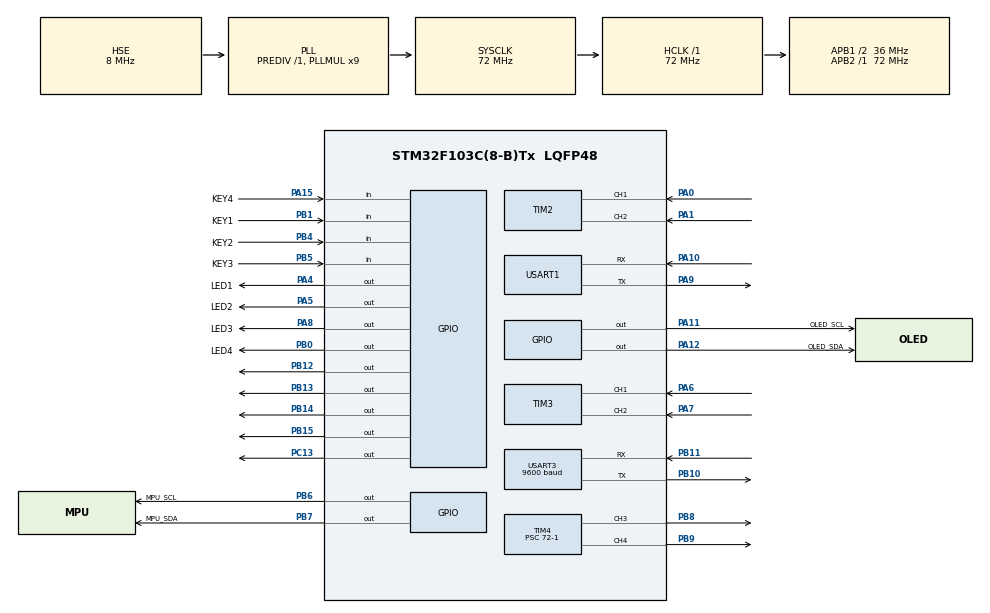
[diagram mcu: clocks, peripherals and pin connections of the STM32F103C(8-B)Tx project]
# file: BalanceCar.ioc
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Dma.Request0=USART1_RX
Dma.Request1=USART1_TX
Dma.USART1_RX.0.Direction=DMA_PERIPH_TO_MEMORY
Dma.USART1_RX.0.Instance=DMA1_Channel5
Dma.USART1_RX.0.MemDataAlignment=DMA_MDATAALIGN_BYTE
Dma.USART1_RX.0.MemInc=DMA_MINC_ENABLE
Dma.USART1_RX.0.Mode=DMA_NORMAL
Dma.USART1_RX.0.PeriphDataAlignment=DMA_PDATAALIGN_BYTE
Dma.USART1_RX.0.PeriphInc=DMA_PINC_DISABLE
Dma.USART1_RX.0.Priority=DMA_PRIORITY_LOW
Dma.USART1_TX.1.Direction=DMA_MEMORY_TO_PERIPH
Dma.USART1_TX.1.Instance=DMA1_Channel4
Dma.USART1_TX.1.MemDataAlignment=DMA_MDATAALIGN_BYTE
Dma.USART1_TX.1.MemInc=DMA_MINC_ENABLE
Dma.USART1_TX.1.Mode=DMA_NORMAL
Dma.USART1_TX.1.PeriphDataAlignment=DMA_PDATAALIGN_BYTE
Dma.USART1_TX.1.PeriphInc=DMA_PINC_DISABLE
Dma.USART1_TX.1.Priority=DMA_PRIORITY_LOW
FREERTOS.BinarySemaphores01=SemSpeedPID,Dynamic,NULL,Available;PIDDataGet,Dynamic,NULL,Available
FREERTOS.Queues01=myQueueKeys,16,uint8_t,0,Dynamic,NULL,NULL
FREERTOS.Tasks01=TaskDataGet,32,128,DataGet,Default,NULL,Dynamic,NULL,NULL;TaskSpeedPID,17,128,SpeedPID,Default,NULL,Dynamic,NULL,NULL;myTaskLedFlash,17,128,running_led_task,Default,NULL,Dynamic,NULL,NULL;myTaskDraw,8,128,OledDraw,Default,NULL,Dynamic,NULL,NULL;myTaskScanKeys,24,128,ScanKeys,Default,NULL,Dynamic,NULL,NULL;TaskPIDDataChan,8,128,PIDDataChange,Default,NULL,Dynamic,NULL,NULL
FREERTOS.configTOTAL_HEAP_SIZE=6144
FREERTOS.configUSE_NEWLIB_REENTRANT=0
Mcu.Family=STM32F1
Mcu.Name=STM32F103C(8-B)Tx
Mcu.Package=LQFP48
NVIC.DMA1_Channel4_IRQn=true\:5\:0\:false\:false\:true\:true\:false\:true\:true
NVIC.DMA1_Channel5_IRQn=true\:5\:0\:false\:false\:true\:true\:false\:true\:true
NVIC.PriorityGroup=NVIC_PRIORITYGROUP_4
NVIC.TIM1_UP_IRQn=true\:0\:0\:true\:false\:true\:false\:false\:true\:true
NVIC.TIM2_IRQn=true\:5\:0\:false\:false\:true\:false\:true\:true\:true
NVIC.TIM3_IRQn=true\:5\:0\:false\:false\:true\:false\:true\:true\:true
NVIC.TimeBase=TIM1_UP_IRQn
NVIC.TimeBaseIP=TIM1
NVIC.USART1_IRQn=true\:5\:0\:false\:false\:true\:true\:true\:true\:true
NVIC.USART3_IRQn=true\:5\:0\:false\:false\:true\:true\:true\:true\:true
PA0-WKUP.GPIO_PuPd=GPIO_PULLUP
PA0-WKUP.Signal=S_TIM2_CH1_ETR
PA1.GPIO_PuPd=GPIO_PULLUP
PA1.Signal=S_TIM2_CH2
PA10.GPIO_PuPd=GPIO_PULLUP
PA10.Mode=Asynchronous
PA10.Signal=USART1_RX
PA11.GPIO_Label=OLED_SCL
PA11.GPIO_ModeDefaultOutputPP=GPIO_MODE_OUTPUT_OD
PA11.GPIO_PuPd=GPIO_NOPULL
PA11.Signal=GPIO_Output
PA12.GPIO_Label=OLED_SDA
PA12.GPIO_ModeDefaultOutputPP=GPIO_MODE_OUTPUT_OD
PA12.GPIO_PuPd=GPIO_NOPULL
PA12.Signal=GPIO_Output
PA13.Mode=Serial_Wire
PA13.Signal=SYS_JTMS-SWDIO
PA14.Mode=Serial_Wire
PA14.Signal=SYS_JTCK-SWCLK
PA15.GPIO_Label=KEY4
PA15.GPIO_PuPd=GPIO_PULLUP
PA15.Signal=GPIO_Input
PA4.GPIO_Label=LED1
PA4.Signal=GPIO_Output
PA5.GPIO_Label=LED2
PA5.Signal=GPIO_Output
PA6.GPIO_PuPd=GPIO_PULLUP
PA6.Signal=S_TIM3_CH1
PA7.GPIO_PuPd=GPIO_PULLUP
PA7.Signal=S_TIM3_CH2
PA8.GPIO_Label=LED3
PA8.Signal=GPIO_Output
PA9.Mode=Asynchronous
PA9.Signal=USART1_TX
PB0.GPIO_Label=LED4
PB0.Signal=GPIO_Output
PB1.GPIO_Label=KEY1
PB1.GPIO_PuPd=GPIO_PULLUP
PB1.Signal=GPIO_Input
PB10.Mode=Asynchronous
PB10.Signal=USART3_TX
PB11.Mode=Asynchronous
PB11.Signal=USART3_RX
PB12.Signal=GPIO_Output
PB13.Signal=GPIO_Output
PB14.Signal=GPIO_Output
PB15.Signal=GPIO_Output
PB4.GPIO_Label=KEY2
PB4.GPIO_PuPd=GPIO_PULLUP
PB4.Signal=GPIO_Input
PB5.GPIO_Label=KEY3
PB5.GPIO_PuPd=GPIO_PULLUP
PB5.Signal=GPIO_Input
PB6.GPIO_Label=MPU_SCL
PB6.GPIO_ModeDefaultOutputPP=GPIO_MODE_OUTPUT_OD
PB6.GPIO_PuPd=GPIO_NOPULL
PB6.GPIO_Speed=GPIO_SPEED_FREQ_HIGH
PB6.PinState=GPIO_PIN_SET
PB6.Signal=GPIO_Output
PB7.GPIO_Label=MPU_SDA
PB7.GPIO_ModeDefaultOutputPP=GPIO_MODE_OUTPUT_OD
PB7.GPIO_PuPd=GPIO_NOPULL
PB7.GPIO_Speed=GPIO_SPEED_FREQ_HIGH
PB7.PinState=GPIO_PIN_SET
PB7.Signal=GPIO_Output
PB8.Signal=S_TIM4_CH3
PB9.Signal=S_TIM4_CH4
PC13-TAMPER-RTC.Signal=GPIO_Output
PC14-OSC32_IN.Mode=LSE-External-Oscillator
PC14-OSC32_IN.Signal=RCC_OSC32_IN
PC15-OSC32_OUT.Mode=LSE-External-Oscillator
PC15-OSC32_OUT.Signal=RCC_OSC32_OUT
PD0-OSC_IN.Mode=HSE-External-Oscillator
PD0-OSC_IN.Signal=RCC_OSC_IN
PD1-OSC_OUT.Mode=HSE-External-Oscillator
PD1-OSC_OUT.Signal=RCC_OSC_OUT
ProjectManager.HeapSize=0x200
ProjectManager.StackSize=0x400
ProjectManager.TargetToolchain=MDK-ARM V5.32
RCC.AHBFreq_Value=72000000
RCC.APB1CLKDivider=RCC_HCLK_DIV2
RCC.APB1Freq_Value=36000000
RCC.APB1TimFreq_Value=72000000
RCC.APB2Freq_Value=72000000
RCC.APB2TimFreq_Value=72000000
RCC.HCLKFreq_Value=72000000
RCC.PLLMUL=RCC_PLL_MUL9
RCC.PLLSourceVirtual=RCC_PLLSOURCE_HSE
RCC.SYSCLKFreq_VALUE=72000000
RCC.SYSCLKSource=RCC_SYSCLKSOURCE_PLLCLK
RCC.USBFreq_Value=72000000
SH.S_TIM2_CH1_ETR.0=TIM2_CH1,Encoder_Interface
SH.S_TIM2_CH2.0=TIM2_CH2,Encoder_Interface
SH.S_TIM3_CH1.0=TIM3_CH1,Encoder_Interface
SH.S_TIM3_CH2.0=TIM3_CH2,Encoder_Interface
SH.S_TIM4_CH3.0=TIM4_CH3,PWM Generation3 CH3
SH.S_TIM4_CH4.0=TIM4_CH4,PWM Generation4 CH4
TIM4.Channel-PWM\ Generation3\ CH3=TIM_CHANNEL_3
TIM4.Channel-PWM\ Generation4\ CH4=TIM_CHANNEL_4
TIM4.Period=100-1
TIM4.Prescaler=72-1
TIM4.Pulse-PWM\ Generation3\ CH3=20
USART1.VirtualMode=VM_ASYNC
USART3.BaudRate=9600
USART3.VirtualMode=VM_ASYNC
VP_FREERTOS_VS_CMSIS_V2.Mode=CMSIS_V2
VP_SYS_VS_tim1.Mode=TIM1
VP_TIM4_VS_ClockSourceINT.Mode=Internal
board=custom

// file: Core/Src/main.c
/* USER CODE BEGIN Header */
/**
  ******************************************************************************
  * @file           : main.c
  * @brief          : Main program body
  ******************************************************************************
  * @attention
  *
  * Copyright (c) 2024 STMicroelectronics.
  * All rights reserved.
  *
  * This software is licensed under terms that can be found in the LICENSE file
  * in the root directory of this software component.
  * If no LICENSE file comes with this software, it is provided AS-IS.
  *
  ******************************************************************************
  */
/* USER CODE END Header */
#include "main.h"
#include "cmsis_os.h"
#include "dma.h"
#include "tim.h"
#include "usart.h"
#include "gpio.h"

/* USER CODE BEGIN PV */
uint8_t ID;
extern int16_t AX, AY, AZ, GX, GY, GZ;
PID Balance_PID;  //直立环
PID Speed_PID;  //速度环
/* USER CODE END PV */

void SystemClock_Config(void);
void MX_FREERTOS_Init(void);

/* USER CODE BEGIN 0 */
xUSATR_TypeDef xUSART1 = {0};          // 定义结构体，方便管理变量。也�?以不用结构体，用单独的变�?
/* USER CODE END 0 */

int main(void)
{

  /* MCU Configuration--------------------------------------------------------*/

  /* Reset of all peripherals, Initializes the Flash interface and the Systick. */
  HAL_Init();

  /* Configure the system clock */
  SystemClock_Config();

  /* Initialize all configured peripherals */
  MX_GPIO_Init();
  MX_DMA_Init();
  MX_TIM4_Init();
  MX_TIM2_Init();
  MX_TIM3_Init();
  MX_USART1_UART_Init();
  MX_USART3_UART_Init();
  /* USER CODE BEGIN 2 */
  HAL_GPIO_WritePin(GPIOC, GPIO_PIN_13, GPIO_PIN_SET);
  OLED_Init();

  enco_init();
  motor_init();

  MPU_Init();
	mpu_dmp_init();
  HAL_UARTEx_ReceiveToIdle_DMA(&huart1, xUSART1.BuffTemp, sizeof(xUSART1.BuffTemp));  // �?启DMA空闲�?�?
  PID_Init(&Balance_PID, 200, 0, 10, 3000);  //初始化直立环PID参数
  PID_Init(&Speed_PID, 6, 1.2, 0, 10000);  //初始化速度环PID参数
  Speed_PID.Ki = Speed_PID.Kd / 200;

  //set_speed(100, 100);
  /* USER CODE END 2 */

  /* Init scheduler */
  osKernelInitialize();

  /* Call init function for freertos objects (in cmsis_os2.c) */
  MX_FREERTOS_Init();

  /* Start scheduler */
  osKernelStart();

  /* We should never get here as control is now taken by the scheduler */

  /* Infinite loop */
  while (1)
  {

  }
}

void SystemClock_Config(void)
{
  RCC_OscInitTypeDef RCC_OscInitStruct = {0};
  RCC_ClkInitTypeDef RCC_ClkInitStruct = {0};

  /** Initializes the RCC Oscillators according to the specified parameters
  * in the RCC_OscInitTypeDef structure.
  */
  RCC_OscInitStruct.OscillatorType = RCC_OSCILLATORTYPE_HSE;
  RCC_OscInitStruct.HSEState = RCC_HSE_ON;
  RCC_OscInitStruct.HSEPredivValue = RCC_HSE_PREDIV_DIV1;
  RCC_OscInitStruct.HSIState = RCC_HSI_ON;
  RCC_OscInitStruct.PLL.PLLState = RCC_PLL_ON;
  RCC_OscInitStruct.PLL.PLLSource = RCC_PLLSOURCE_HSE;
  RCC_OscInitStruct.PLL.PLLMUL = RCC_PLL_MUL9;
  if (HAL_RCC_OscConfig(&RCC_OscInitStruct) != HAL_OK)
  {
    Error_Handler();
  }

  /** Initializes the CPU, AHB and APB buses clocks
  */
  RCC_ClkInitStruct.ClockType = RCC_CLOCKTYPE_HCLK|RCC_CLOCKTYPE_SYSCLK
                              |RCC_CLOCKTYPE_PCLK1|RCC_CLOCKTYPE_PCLK2;
  RCC_ClkInitStruct.SYSCLKSource = RCC_SYSCLKSOURCE_PLLCLK;
  RCC_ClkInitStruct.AHBCLKDivider = RCC_SYSCLK_DIV1;
  RCC_ClkInitStruct.APB1CLKDivider = RCC_HCLK_DIV2;
  RCC_ClkInitStruct.APB2CLKDivider = RCC_HCLK_DIV1;

  if (HAL_RCC_ClockConfig(&RCC_ClkInitStruct, FLASH_LATENCY_2) != HAL_OK)
  {
    Error_Handler();
  }
}

void HAL_TIM_PeriodElapsedCallback(TIM_HandleTypeDef *htim)
{
  if (htim->Instance == TIM1) {
    HAL_IncTick();
  }
}

void Error_Handler(void)
{
  __disable_irq();
  while (1)
  {
  }
}

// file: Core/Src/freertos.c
/* USER CODE BEGIN Header */
/**
 ******************************************************************************
 * File Name          : freertos.c
 * Description        : Code for freertos applications
 ******************************************************************************
 * @attention
 *
 * Copyright (c) 2024 STMicroelectronics.
 * All rights reserved.
 *
 * This software is licensed under terms that can be found in the LICENSE file
 * in the root directory of this software component.
 * If no LICENSE file comes with this software, it is provided AS-IS.
 *
 ******************************************************************************
 */
/* USER CODE END Header */

#include "FreeRTOS.h"
#include "task.h"
#include "main.h"
#include "cmsis_os.h"

/* USER CODE BEGIN Includes */
#include "queue.h"
#include "semphr.h"
#include "IIC.h"
#include "inv_mpu.h"
#include "inv_mpu_dmp_motion_driver.h"
#include "mpu6050.h"
#include "stdio.h"
#include "string.h"
/* USER CODE END Includes */

/* USER CODE BEGIN Variables */

int16_t sLeft, sRight;

//陀螺仪数据变量
float pitch,roll,yaw;
short gyrox,gyroy,gyroz;
short	aacx,aacy,aacz;

// //闭环控制中间变量
// int Vertical_out,Velocity_out,Target_Speed;
// float Med_Angle=0;//平衡时角度值偏移量（机械中值）

// float P_value = 0.0;
// float I_value = 0.0;
// float D_value = 0.0;

// //参数 extern 不能赋值
// extern float Vertical_Kp,Vertical_Kd;			//直立环 数量级（Kp：0~1000、Kd：0~10）PD控制器
// extern float Velocity_Kp,Velocity_Ki;		    //速度环 数量级（Kp：0~1）             PI控制器
// extern float Turn_Kp,Turn_Kd;						//转向环

extern PID Balance_PID;  //直立环
extern PID Speed_PID;  //速度环
float Balance_Pwm;  //直立环输出PWM
float velocity_Pwm;  //速度环输出PWM
extern int8_t Angle_Balance;

int Motor_Left,Motor_Right;      //电机PWM变量,经过串级PID计算后的值
//extern  Encoder_Left,Encoder_Right;

/* USER CODE END Variables */
/* Definitions for TaskDataGet */
osThreadId_t TaskDataGetHandle;
const osThreadAttr_t TaskDataGet_attributes = {
  .name = "TaskDataGet",
  .stack_size = 128 * 4,
  .priority = (osPriority_t) osPriorityAboveNormal,
};
/* Definitions for TaskSpeedPID */
osThreadId_t TaskSpeedPIDHandle;
const osThreadAttr_t TaskSpeedPID_attributes = {
  .name = "TaskSpeedPID",
  .stack_size = 128 * 4,
  .priority = (osPriority_t) osPriorityBelowNormal1,
};
/* Definitions for myTaskLedFlash */
osThreadId_t myTaskLedFlashHandle;
const osThreadAttr_t myTaskLedFlash_attributes = {
  .name = "myTaskLedFlash",
  .stack_size = 128 * 4,
  .priority = (osPriority_t) osPriorityBelowNormal1,
};
/* Definitions for myTaskDraw */
osThreadId_t myTaskDrawHandle;
const osThreadAttr_t myTaskDraw_attributes = {
  .name = "myTaskDraw",
  .stack_size = 128 * 4,
  .priority = (osPriority_t) osPriorityLow,
};
/* Definitions for myTaskScanKeys */
osThreadId_t myTaskScanKeysHandle;
const osThreadAttr_t myTaskScanKeys_attributes = {
  .name = "myTaskScanKeys",
  .stack_size = 128 * 4,
  .priority = (osPriority_t) osPriorityNormal,
};
/* Definitions for TaskPIDDataChan */
osThreadId_t TaskPIDDataChanHandle;
const osThreadAttr_t TaskPIDDataChan_attributes = {
  .name = "TaskPIDDataChan",
  .stack_size = 128 * 4,
  .priority = (osPriority_t) osPriorityLow,
};
/* Definitions for myQueueKeys */
osMessageQueueId_t myQueueKeysHandle;
const osMessageQueueAttr_t myQueueKeys_attributes = {
  .name = "myQueueKeys"
};
/* Definitions for SemSpeedPID */
osSemaphoreId_t SemSpeedPIDHandle;
const osSemaphoreAttr_t SemSpeedPID_attributes = {
  .name = "SemSpeedPID"
};
/* Definitions for PIDDataGet */
osSemaphoreId_t PIDDataGetHandle;
const osSemaphoreAttr_t PIDDataGet_attributes = {
  .name = "PIDDataGet"
};

void DataGet(void *argument);
void SpeedPID(void *argument);
void running_led_task(void *argument);
void OledDraw(void *argument);
void ScanKeys(void *argument);
void PIDDataChange(void *argument);

void MX_FREERTOS_Init(void); /* (MISRA C 2004 rule 8.1) */

void MX_FREERTOS_Init(void) {

  /* Create the semaphores(s) */
  /* creation of SemSpeedPID */
  SemSpeedPIDHandle = osSemaphoreNew(1, 1, &SemSpeedPID_attributes);

  /* creation of PIDDataGet */
  PIDDataGetHandle = osSemaphoreNew(1, 1, &PIDDataGet_attributes);

  /* Create the queue(s) */
  /* creation of myQueueKeys */
  myQueueKeysHandle = osMessageQueueNew (16, sizeof(uint8_t), &myQueueKeys_attributes);

  /* Create the thread(s) */
  /* creation of TaskDataGet */
  TaskDataGetHandle = osThreadNew(DataGet, NULL, &TaskDataGet_attributes);

  /* creation of TaskSpeedPID */
  TaskSpeedPIDHandle = osThreadNew(SpeedPID, NULL, &TaskSpeedPID_attributes);

  /* creation of myTaskLedFlash */
  myTaskLedFlashHandle = osThreadNew(running_led_task, NULL, &myTaskLedFlash_attributes);

  /* creation of myTaskDraw */
  myTaskDrawHandle = osThreadNew(OledDraw, NULL, &myTaskDraw_attributes);

  /* creation of myTaskScanKeys */
  myTaskScanKeysHandle = osThreadNew(ScanKeys, NULL, &myTaskScanKeys_attributes);

  /* creation of TaskPIDDataChan */
  TaskPIDDataChanHandle = osThreadNew(PIDDataChange, NULL, &TaskPIDDataChan_attributes);

}

void DataGet(void *argument)
{
  /* USER CODE BEGIN DataGet */
  float kLeft = 3.53;
  float kRight = 2.15;

  int8_t pitch_buf[20];
  int8_t gyroz_buf[20];

  // 定义变量用于存储上一次的角度值和时间戳
  float last_pitch = 0.0f;
  TickType_t last_time = 0;

  /* Infinite loop */
  for(;;)
  {
    TickType_t pxPreviousWakeTime = xTaskGetTickCount();

    //读取编码器数据
    sLeft = __HAL_TIM_GetCounter(&htim2);
    __HAL_TIM_SetCounter(&htim2, 0);
    sRight = __HAL_TIM_GetCounter(&htim3);
    __HAL_TIM_SetCounter(&htim3, 0);

    // 速度计算,根据左右轮速度系数，把满速度值设为100
    sLeft = sLeft / kLeft;
    sRight = -sRight / kRight;

    //printf("%d,%d\n", sLeft, sRight);

    //读取陀螺仪数据
    mpu_dmp_get_data(&pitch,&roll,&yaw);
	  //MPU_Get_Gyroscope(&gyrox,&gyroy,&gyroz);
	  //MPU_Get_Accelerometer(&aacx,&aacy,&aacz);

    // 计算角速度
    TickType_t current_time = xTaskGetTickCount();
    if (current_time - last_time >= pdMS_TO_TICKS(100)) {
      float delta_time = (current_time - last_time) / (float)configTICK_RATE_HZ;
      float angular_velocity = (pitch - last_pitch) / delta_time;

      // 更新上一次的角度值和时间戳
      last_pitch = pitch;
      last_time = current_time;

      // 使用计算出的角速度
      gyroz = (int)angular_velocity;
    }

    sprintf((char *)pitch_buf, "%d", (int)pitch);
    sprintf((char *)gyroz_buf, "%d", (int)gyroz);

    //OLED_ShowString(1, 8, (char *)pitch_buf);
    //OLED_ShowString(2, 8, (char *)aacz_buf);

    Angle_Balance = pitch;
    //printf("pitch=%d,gyroz=%d\n",pitch,gyroz);
    //printf("angle_balance=%d",Angle_Balance);

    vTaskDelayUntil(&pxPreviousWakeTime, pdMS_TO_TICKS(100));

    xSemaphoreGive(SemSpeedPIDHandle);//读取完编码器和陀螺仪数据后，释放信号量
  }
  /* USER CODE END DataGet */
}

void SpeedPID(void *argument)
{
  /* USER CODE BEGIN SpeedPID */
  //为了在oled上显示浮点数，将浮点数转换为字符串
  // uint8_t Vertical_Kp_buf[20];
  // uint8_t Vertical_Kd_buf[20];
  // uint8_t Velocity_Kp_buf[20];
  // uint8_t Velocity_Ki_buf[20];

  /* Infinite loop */
  for(;;)
  {
    if (xSemaphoreTake(SemSpeedPIDHandle, pdMS_TO_TICKS(100)) == pdTRUE)
    {
      //PID计算任务

      //Target_Speed = 0;//期望速度

      // if (P_value != 0.0)//如果P值不为0，说明PID参数已经被上位机设置
      // {

      //   Vertical_Kp =  P_value;//直立环 数量级（Kp：0~1000、Kd：0~10）PD控制器
      //   Vertical_Kd =  D_value;//直立环 数量级（Kp：0~1000、Kd：0~10）PD控制器
      //   //Velocity_Kp =  P_value;//速度环 数量级（Kp：0~1）             PI控制器
      //   //Velocity_Ki =  I_value;//速度环 数量级             PI控制器

      // }

      // sprintf((char *)Vertical_Kp_buf, "%.3f", Vertical_Kp);
      // sprintf((char *)Vertical_Kd_buf, "%.3f", Vertical_Kd);
      // sprintf((char *)Velocity_Kp_buf, "%.3f", Velocity_Kp);
      // sprintf((char *)Velocity_Ki_buf, "%.3f", Velocity_Ki);

      // OLED_ShowString(1, 0, (char *)Vertical_Kp_buf);
      // OLED_ShowString(2, 0, (char *)Vertical_Kd_buf);
      // OLED_ShowString(3, 0, (char *)Velocity_Kp_buf);
      // OLED_ShowString(4, 0, (char *)Velocity_Ki_buf);

      //  OLED_ShowNum(1, 0, Vertical_Kp, 4);
      //  OLED_ShowNum(2, 0, Vertical_Kd, 4);
      //  OLED_ShowNum(3, 0, Velocity_Kp, 4);
      //  OLED_ShowNum(4, 0, Velocity_Ki, 4);
    //  //OLED_ShowString(2, 0, ".");

      //将数据传入PID控制器，计算输出结果，即左右电机转速值
	    // Velocity_out=Velocity(Target_Speed,sLeft,sRight);
	    // Vertical_out=Vertical(Velocity_out+Med_Angle, pitch, gyroz);

	    //设置电机转速
      //set_speed(Velocity_out,Velocity_out);
	    //set_speed(Vertical_out,Vertical_out);
      //set_speed(100, 100);

      //第二种方案

      Balance_Pwm = PID_Balance_Calc(&Balance_PID, pitch, gyroz);
      Balance_Pwm = Balance_Pwm * 0.8;
      //Balance_Pwm = PWM_Limit(Balance_Pwm, 40, -40);
      //printf("balance_pwm=%f\n",Balance_Pwm);

      //set_speed(-Balance_Pwm, -Balance_Pwm);

      velocity_Pwm=PID_Speed_Calc(&Speed_PID,sLeft,sRight);
      velocity_Pwm = velocity_Pwm * 0.8;
      //printf("velocity_Pwm=%f\n",velocity_Pwm);
      //set_speed(velocity_Pwm,velocity_Pwm);

      Motor_Left = velocity_Pwm - Balance_Pwm;
      Motor_Right = velocity_Pwm - Balance_Pwm;

      Motor_Left = PWM_Limit(Motor_Left, 40, -40);
      Motor_Right = PWM_Limit(Motor_Right, 40, -40);

      //printf("%d\n",Motor_Left);
      printf("balance_pwm=%f,velocity_pwm=%f,motor_left=%d\n",Balance_Pwm,velocity_Pwm,Motor_Left);

      set_speed(Motor_Left, Motor_Right);
      //set_speed(100, 100);

    }
    osDelay(100);
  }
  /* USER CODE END SpeedPID */
}

void running_led_task(void *argument)
{
  /* USER CODE BEGIN running_led_task */
    /* Infinite loop */
    for (;;)
    {
      led1_on();
      vTaskDelay(pdMS_TO_TICKS(100));
      led1_off();

      led2_on();
      vTaskDelay(pdMS_TO_TICKS(100));
      led2_off();

      led3_on();
      vTaskDelay(pdMS_TO_TICKS(100));
      led3_off();

      led4_on();
      vTaskDelay(pdMS_TO_TICKS(100));
      led4_off();
      osDelay(1);
    }
  /* USER CODE END running_led_task */
}

void OledDraw(void *argument)
{
  /* USER CODE BEGIN OledDraw */
    KEYS keyValue; // 按键值
    /* Infinite loop */
    for (;;)
    {

      if (xQueueReceive(myQueueKeysHandle, &keyValue, pdMS_TO_TICKS(50)) != pdTRUE)
      {
        continue; //
      }

      if (keyValue == KEY1)
      {
        OLED_ShowNum(4, 9, 1, 1);
      }
      else if (keyValue == KEY2)
      {
        OLED_ShowNum(4, 9, 2, 1);
      }
      else if (keyValue == KEY3)
      {
        OLED_ShowNum(4, 9, 3, 1);
      }
      else if (keyValue == KEY4)
      {
        OLED_ShowNum(4, 9, 4, 1);
      }
      vTaskDelay(400);
    }
  /* USER CODE END OledDraw */
}

void ScanKeys(void *argument)
{
  /* USER CODE BEGIN ScanKeys */
    GPIO_PinState keyState = GPIO_PIN_SET;
    KEYS key = KEY_NONE;
    /* Infinite loop */
    for (;;)
    {
      key = KEY_NONE;

      keyState = HAL_GPIO_ReadPin(GPIOB, KEY1_Pin);
      if (keyState == GPIO_PIN_RESET)
      {

        key = KEY1;
      }

      keyState = HAL_GPIO_ReadPin(GPIOB, KEY2_Pin);
      if (keyState == GPIO_PIN_RESET)
      {
        key = KEY2;
      }

      keyState = HAL_GPIO_ReadPin(GPIOB, KEY3_Pin);
      if (keyState == GPIO_PIN_RESET)
      {
        key = KEY3;
      }

      keyState = HAL_GPIO_ReadPin(GPIOA, KEY4_Pin);
      if (keyState == GPIO_PIN_RESET)
      {
        key = KEY4;
      }

      // 按键值入队
      if (key != KEY_NONE)
      {
        BaseType_t err = xQueueSendToBack(myQueueKeysHandle, &key, pdMS_TO_TICKS(50));
        if (err == errQUEUE_FULL)
        {
          xQueueReset(myQueueKeysHandle); //  队列满了，清空队列
        }
        vTaskDelay(300);
      }

      else
      {
        vTaskDelay(5);
      }
    }
  /* USER CODE END ScanKeys */
}

void PIDDataChange(void *argument)
{
  /* USER CODE BEGIN PIDDataChange */
  char *data_format = "P:%f, I:%f, D:%f"; // 用于解析的格式字符串
  float P_temp, I_temp, D_temp;           // 临时存储解析到的 PID 参数
  /* Infinite loop */
  for(;;)
  {
    if (xSemaphoreTake(PIDDataGetHandle, pdMS_TO_TICKS(100)) == pdTRUE)
    {
      if (xUSART1.ReceiveNum)
      {
        printf("Received Data: %s\r", (char *)xUSART1.ReceiveData); // 显示接收到的数据

        // 尝试解析接收到的字符串，解析成功时返回解析的参数个数
        if (sscanf((char *)xUSART1.ReceiveData, data_format, &P_temp, &I_temp, &D_temp) == 3)
        {
          // 成功解析到 PID 参数，赋值给全局变量
          // P_value = P_temp;
          // I_value = I_temp;
          // D_value = D_temp;

          // 打印解析后的 PID 值
          // printf("Parsed PID values: P = %f, I = %f, D = %f\r", P_value, I_value, D_value);

        }
        else
        {
          // 如果解析失败，显示错误信息
          printf("Error: Invalid PID data format\r");
        }

        xUSART1.ReceiveNum = 0; // ??0接收标记
      }

    }
    vTaskDelay(pdMS_TO_TICKS(100));
  }
  /* USER CODE END PIDDataChange */
}

/* USER CODE BEGIN Application */
void HAL_UARTEx_RxEventCallback(UART_HandleTypeDef *huart, uint16_t Size)
{
    if (huart == &huart1)                                                                    // 判断串口
    {
        BaseType_t hightaskWoken = pdFALSE;
        __HAL_UNLOCK(huart);                                                                 // 解锁串口状态

        xUSART1.ReceiveNum  = Size;                                                          // 把接收字节数，存入结构体xUSART1.ReceiveNum，以备使用
        memset(xUSART1.ReceiveData, 0, sizeof(xUSART1.ReceiveData));                         // 清0前一帧的接收数据
        memcpy(xUSART1.ReceiveData, xUSART1.BuffTemp, Size);                                 // 把新数据，从临时缓存中，复制到xUSART1.ReceiveData[], 以备使用
        HAL_UARTEx_ReceiveToIdle_DMA(&huart1, xUSART1.BuffTemp, sizeof(xUSART1.BuffTemp));   // 再次开启DMA空闲中断; 每当接收完指定长度，或者产生空闲中断时，就会来到这个

        //DMA完成一次接收后，释放信号量，通知任务处理数据
      if (PIDDataGetHandle != NULL)
      {
        xSemaphoreGiveFromISR(PIDDataGetHandle, &hightaskWoken);                               // 释放信号量，通知任务处理数据
        portYIELD_FROM_ISR(hightaskWoken);                                                   // 如果hightaskWoken为pdTRUE，则进行一次任务调度
      }

    }
}

/* USER CODE END Application */
